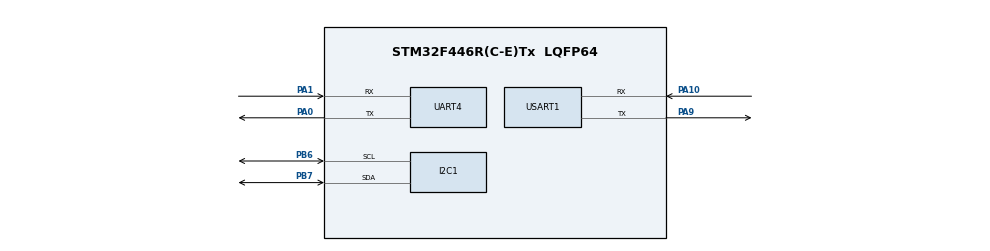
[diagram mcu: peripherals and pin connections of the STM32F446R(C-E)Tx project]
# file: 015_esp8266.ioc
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Dma.I2C1_RX.0.Direction=DMA_PERIPH_TO_MEMORY
Dma.I2C1_RX.0.FIFOMode=DMA_FIFOMODE_DISABLE
Dma.I2C1_RX.0.Instance=DMA1_Stream0
Dma.I2C1_RX.0.MemDataAlignment=DMA_MDATAALIGN_BYTE
Dma.I2C1_RX.0.MemInc=DMA_MINC_ENABLE
Dma.I2C1_RX.0.Mode=DMA_NORMAL
Dma.I2C1_RX.0.PeriphDataAlignment=DMA_PDATAALIGN_BYTE
Dma.I2C1_RX.0.PeriphInc=DMA_PINC_DISABLE
Dma.I2C1_RX.0.Priority=DMA_PRIORITY_LOW
Dma.I2C1_TX.1.Direction=DMA_MEMORY_TO_PERIPH
Dma.I2C1_TX.1.FIFOMode=DMA_FIFOMODE_DISABLE
Dma.I2C1_TX.1.Instance=DMA1_Stream6
Dma.I2C1_TX.1.MemDataAlignment=DMA_MDATAALIGN_BYTE
Dma.I2C1_TX.1.MemInc=DMA_MINC_ENABLE
Dma.I2C1_TX.1.Mode=DMA_NORMAL
Dma.I2C1_TX.1.PeriphDataAlignment=DMA_PDATAALIGN_BYTE
Dma.I2C1_TX.1.PeriphInc=DMA_PINC_DISABLE
Dma.I2C1_TX.1.Priority=DMA_PRIORITY_LOW
Dma.Request0=I2C1_RX
Dma.Request1=I2C1_TX
Dma.Request2=UART4_RX
Dma.Request3=UART4_TX
Dma.UART4_RX.2.Direction=DMA_PERIPH_TO_MEMORY
Dma.UART4_RX.2.FIFOMode=DMA_FIFOMODE_DISABLE
Dma.UART4_RX.2.Instance=DMA1_Stream2
Dma.UART4_RX.2.MemDataAlignment=DMA_MDATAALIGN_BYTE
Dma.UART4_RX.2.MemInc=DMA_MINC_ENABLE
Dma.UART4_RX.2.Mode=DMA_CIRCULAR
Dma.UART4_RX.2.PeriphDataAlignment=DMA_PDATAALIGN_BYTE
Dma.UART4_RX.2.PeriphInc=DMA_PINC_DISABLE
Dma.UART4_RX.2.Priority=DMA_PRIORITY_HIGH
Dma.UART4_TX.3.Direction=DMA_MEMORY_TO_PERIPH
Dma.UART4_TX.3.FIFOMode=DMA_FIFOMODE_DISABLE
Dma.UART4_TX.3.Instance=DMA1_Stream4
Dma.UART4_TX.3.MemDataAlignment=DMA_MDATAALIGN_BYTE
Dma.UART4_TX.3.MemInc=DMA_MINC_ENABLE
Dma.UART4_TX.3.Mode=DMA_NORMAL
Dma.UART4_TX.3.PeriphDataAlignment=DMA_PDATAALIGN_BYTE
Dma.UART4_TX.3.PeriphInc=DMA_PINC_DISABLE
Dma.UART4_TX.3.Priority=DMA_PRIORITY_HIGH
Mcu.Family=STM32F4
Mcu.Name=STM32F446R(C-E)Tx
Mcu.Package=LQFP64
NVIC.DMA1_Stream0_IRQn=true\:0\:0\:false\:false\:true\:false\:true\:true
NVIC.DMA1_Stream2_IRQn=true\:0\:0\:false\:false\:true\:false\:true\:true
NVIC.DMA1_Stream4_IRQn=true\:0\:0\:false\:false\:true\:false\:true\:true
NVIC.DMA1_Stream6_IRQn=true\:0\:0\:false\:false\:true\:false\:true\:true
NVIC.I2C1_ER_IRQn=true\:0\:0\:false\:false\:true\:true\:true\:true
NVIC.I2C1_EV_IRQn=true\:0\:0\:false\:false\:true\:true\:true\:true
NVIC.PriorityGroup=NVIC_PRIORITYGROUP_4
NVIC.UART4_IRQn=true\:0\:0\:false\:false\:true\:true\:true\:true
NVIC.USART1_IRQn=true\:0\:0\:false\:false\:true\:true\:true\:true
PA0-WKUP.Mode=Asynchronous
PA0-WKUP.Signal=UART4_TX
PA1.Mode=Asynchronous
PA1.Signal=UART4_RX
PA10.Mode=Asynchronous
PA10.Signal=USART1_RX
PA9.Mode=Asynchronous
PA9.Signal=USART1_TX
PB6.Mode=I2C
PB6.Signal=I2C1_SCL
PB7.Mode=I2C
PB7.Signal=I2C1_SDA
ProjectManager.HeapSize=0x200
ProjectManager.StackSize=0x400
ProjectManager.TargetToolchain=STM32CubeIDE
RCC.CortexFreq_Value=16000000
RCC.USBFreq_Value=96000000
RCC.VCOOutputFreq_Value=192000000
UART4.VirtualMode=Asynchronous
USART1.VirtualMode=VM_ASYNC
board=custom

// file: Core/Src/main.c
/* USER CODE BEGIN Header */
/**
 ******************************************************************************
 * @file           : main.c
 * @brief          : Main program body
 ******************************************************************************
 * @attention
 *
 * Copyright (c) 2025 STMicroelectronics.
 * All rights reserved.
 *
 * This software is licensed under terms that can be found in the LICENSE file
 * in the root directory of this software component.
 * If no LICENSE file comes with this software, it is provided AS-IS.
 *
 ******************************************************************************
 */
/* USER CODE END Header */
#include "main.h"

/* USER CODE BEGIN Includes */
#include "ringbuffer.h"
#include "esp8266_stm32.h"
/* USER CODE END Includes */

/* USER CODE BEGIN PM */
char readBuf[1];
uint8_t txData;
__IO ITStatus UartReady = SET;
__IO ITStatus UartTxComplete = SET;
RingBuffer txBuf, rxBuf;
/* USER CODE END PM */

I2C_HandleTypeDef hi2c1;
DMA_HandleTypeDef hdma_i2c1_rx;
DMA_HandleTypeDef hdma_i2c1_tx;

UART_HandleTypeDef huart4;
UART_HandleTypeDef huart1;
DMA_HandleTypeDef hdma_uart4_rx;
DMA_HandleTypeDef hdma_uart4_tx;

void SystemClock_Config(void);
static void MX_GPIO_Init(void);
static void MX_DMA_Init(void);
static void MX_I2C1_Init(void);
static void MX_UART4_Init(void);
static void MX_USART1_UART_Init(void);
/* USER CODE BEGIN PFP */
int _write(int file, char *ptr, int len)
{
  if (UART_Transmit(&huart1, (uint8_t *)ptr, len))
  {
    // Wait for transmission to complete to ensure log integrity
    while (UartTxComplete == RESET || RingBuffer_GetDataLength(&txBuf) > 0)
    {
      // Allow other interrupts to process
      __NOP();
    }
    return len;
  }
  return 0; // Return 0 on failure
}

char ip_buf[16];

/* USER CODE END PFP */

int main(void)
{

  /* MCU Configuration--------------------------------------------------------*/

  /* Reset of all peripherals, Initializes the Flash interface and the Systick. */
  HAL_Init();

  /* Configure the system clock */
  SystemClock_Config();

  /* Initialize all configured peripherals */
  MX_GPIO_Init();
  MX_DMA_Init();
  MX_I2C1_Init();
  MX_UART4_Init();
  MX_USART1_UART_Init();
  /* USER CODE BEGIN 2 */
  // Initialize ring buffers for UART interrupt-based transmission
  RingBuffer_Init(&txBuf);
  RingBuffer_Init(&rxBuf);

  HAL_NVIC_SetPriority(USART1_IRQn, 0, 0);
  HAL_NVIC_EnableIRQ(USART1_IRQn);

  if (ESP_Init() != ESP8266_OK)
  {
    USER_LOG("Failed to initialize... Check Debug logs");
    Error_Handler();
  }

  if (ESP_ConnectWiFi("Arun_Rawat", "arun@321", ip_buf, sizeof(ip_buf)) != ESP8266_OK)
  {
    USER_LOG("Failed to connect to wifi... Check Debug logs");
    Error_Handler();
  }

  // Initialize and connect to MQTT broker
  USER_LOG("Setting up MQTT...");
  if (ESP_MQTT_Init("test.mosquitto.org", 1883, "STM32_Device_001") != ESP8266_OK)
  {
    USER_LOG("MQTT initialization failed");
    Error_Handler();
  }

  // Set MQTT authentication
  // ESP_MQTT_SetAuth("your_username", "your_password");

  if (ESP_MQTT_Connect() != ESP8266_OK)
  {
    USER_LOG("MQTT connection failed");
    Error_Handler();
  }

  // Subscribe to control topics
  ESP_MQTT_Subscribe("stm32/led/control", MQTT_QOS_0);
  ESP_MQTT_Subscribe("stm32/system/command", MQTT_QOS_0);
  ESP_MQTT_Subscribe("stm32/sensor/request", MQTT_QOS_1);

  USER_LOG("MQTT setup complete. Device ready for IoT communication!");

  /* USER CODE END 2 */

  /* Infinite loop */
  /* USER CODE BEGIN WHILE */
  uint32_t last_publish = 0;
  uint32_t publish_interval = 10000; // Publish every 10 seconds
  MQTT_Message received_msg;

  while (1)
  {
    /* USER CODE END WHILE */

    /* USER CODE BEGIN 3 */

    // Check for incoming MQTT messages
    if (ESP_MQTT_CheckMessages(&received_msg) == ESP8266_OK)
    {
      // Handle received MQTT messages
      if (strcmp(received_msg.topic, "stm32/led/control") == 0)
      {
        if (strcmp(received_msg.message, "ON") == 0)
        {
          USER_LOG("LED Control: Turning LED ON");
          // Add your LED control code here
          ESP_MQTT_Publish("stm32/led/status", "LED_ON", MQTT_QOS_0, 0);
        }
        else if (strcmp(received_msg.message, "OFF") == 0)
        {
          USER_LOG("LED Control: Turning LED OFF");
          // Add your LED control code here
          ESP_MQTT_Publish("stm32/led/status", "LED_OFF", MQTT_QOS_0, 0);
        }
      }
      else if (strcmp(received_msg.topic, "stm32/system/command") == 0)
      {
        if (strcmp(received_msg.message, "STATUS") == 0)
        {
          char status_msg[128];
          snprintf(status_msg, sizeof(status_msg),
                   "ONLINE,IP:%s,UPTIME:%lu", ip_buf, HAL_GetTick());
          ESP_MQTT_Publish("stm32/system/status", status_msg, MQTT_QOS_0, 0);
        }
        else if (strcmp(received_msg.message, "RESTART") == 0)
        {
          ESP_MQTT_Publish("stm32/system/status", "RESTARTING", MQTT_QOS_0, 0);
          HAL_Delay(1000);
          NVIC_SystemReset();
        }
      }
      else if (strcmp(received_msg.topic, "stm32/sensor/request") == 0)
      {
        // Simulate sensor data
        char sensor_data[128];
        uint32_t temp = 25 + (HAL_GetTick() % 10);     // Simulated temperature
        uint32_t humidity = 60 + (HAL_GetTick() % 20); // Simulated humidity

        snprintf(sensor_data, sizeof(sensor_data),
                 "{\"temperature\":%lu,\"humidity\":%lu,\"timestamp\":%lu}",
                 temp, humidity, HAL_GetTick());
        ESP_MQTT_Publish("stm32/sensor/data", sensor_data, MQTT_QOS_1, 0);
      }
    }

    // Periodic status publishing
    if ((HAL_GetTick() - last_publish) >= publish_interval)
    {
      char heartbeat[64];
      snprintf(heartbeat, sizeof(heartbeat), "ALIVE_%lu", HAL_GetTick());
      ESP_MQTT_Publish("stm32/heartbeat", heartbeat, MQTT_QOS_0, 0);

      last_publish = HAL_GetTick();
    }

    // Small delay to prevent busy waiting
    HAL_Delay(100);
  }
  /* USER CODE END 3 */
}

void SystemClock_Config(void)
{
  RCC_OscInitTypeDef RCC_OscInitStruct = {0};
  RCC_ClkInitTypeDef RCC_ClkInitStruct = {0};

  /** Configure the main internal regulator output voltage
   */
  __HAL_RCC_PWR_CLK_ENABLE();
  __HAL_PWR_VOLTAGESCALING_CONFIG(PWR_REGULATOR_VOLTAGE_SCALE3);

  /** Initializes the RCC Oscillators according to the specified parameters
   * in the RCC_OscInitTypeDef structure.
   */
  RCC_OscInitStruct.OscillatorType = RCC_OSCILLATORTYPE_HSI;
  RCC_OscInitStruct.HSIState = RCC_HSI_ON;
  RCC_OscInitStruct.HSICalibrationValue = RCC_HSICALIBRATION_DEFAULT;
  RCC_OscInitStruct.PLL.PLLState = RCC_PLL_NONE;
  if (HAL_RCC_OscConfig(&RCC_OscInitStruct) != HAL_OK)
  {
    Error_Handler();
  }

  /** Initializes the CPU, AHB and APB buses clocks
   */
  RCC_ClkInitStruct.ClockType = RCC_CLOCKTYPE_HCLK | RCC_CLOCKTYPE_SYSCLK | RCC_CLOCKTYPE_PCLK1 | RCC_CLOCKTYPE_PCLK2;
  RCC_ClkInitStruct.SYSCLKSource = RCC_SYSCLKSOURCE_HSI;
  RCC_ClkInitStruct.AHBCLKDivider = RCC_SYSCLK_DIV1;
  RCC_ClkInitStruct.APB1CLKDivider = RCC_HCLK_DIV1;
  RCC_ClkInitStruct.APB2CLKDivider = RCC_HCLK_DIV1;

  if (HAL_RCC_ClockConfig(&RCC_ClkInitStruct, FLASH_LATENCY_0) != HAL_OK)
  {
    Error_Handler();
  }
}

static void MX_I2C1_Init(void)
{

  hi2c1.Instance = I2C1;
  hi2c1.Init.ClockSpeed = 100000;
  hi2c1.Init.DutyCycle = I2C_DUTYCYCLE_2;
  hi2c1.Init.OwnAddress1 = 0;
  hi2c1.Init.AddressingMode = I2C_ADDRESSINGMODE_7BIT;
  hi2c1.Init.DualAddressMode = I2C_DUALADDRESS_DISABLE;
  hi2c1.Init.OwnAddress2 = 0;
  hi2c1.Init.GeneralCallMode = I2C_GENERALCALL_DISABLE;
  hi2c1.Init.NoStretchMode = I2C_NOSTRETCH_DISABLE;
  if (HAL_I2C_Init(&hi2c1) != HAL_OK)
  {
    Error_Handler();
  }
}

static void MX_UART4_Init(void)
{

  huart4.Instance = UART4;
  huart4.Init.BaudRate = 115200;
  huart4.Init.WordLength = UART_WORDLENGTH_8B;
  huart4.Init.StopBits = UART_STOPBITS_1;
  huart4.Init.Parity = UART_PARITY_NONE;
  huart4.Init.Mode = UART_MODE_TX_RX;
  huart4.Init.HwFlowCtl = UART_HWCONTROL_NONE;
  huart4.Init.OverSampling = UART_OVERSAMPLING_16;
  if (HAL_UART_Init(&huart4) != HAL_OK)
  {
    Error_Handler();
  }
}

static void MX_USART1_UART_Init(void)
{

  huart1.Instance = USART1;
  huart1.Init.BaudRate = 115200;
  huart1.Init.WordLength = UART_WORDLENGTH_8B;
  huart1.Init.StopBits = UART_STOPBITS_1;
  huart1.Init.Parity = UART_PARITY_NONE;
  huart1.Init.Mode = UART_MODE_TX_RX;
  huart1.Init.HwFlowCtl = UART_HWCONTROL_NONE;
  huart1.Init.OverSampling = UART_OVERSAMPLING_16;
  if (HAL_UART_Init(&huart1) != HAL_OK)
  {
    Error_Handler();
  }
}

static void MX_DMA_Init(void)
{

  /* DMA controller clock enable */
  __HAL_RCC_DMA1_CLK_ENABLE();

  /* DMA interrupt init */
  /* DMA1_Stream0_IRQn interrupt configuration */
  HAL_NVIC_SetPriority(DMA1_Stream0_IRQn, 0, 0);
  HAL_NVIC_EnableIRQ(DMA1_Stream0_IRQn);
  /* DMA1_Stream2_IRQn interrupt configuration */
  HAL_NVIC_SetPriority(DMA1_Stream2_IRQn, 0, 0);
  HAL_NVIC_EnableIRQ(DMA1_Stream2_IRQn);
  /* DMA1_Stream4_IRQn interrupt configuration */
  HAL_NVIC_SetPriority(DMA1_Stream4_IRQn, 0, 0);
  HAL_NVIC_EnableIRQ(DMA1_Stream4_IRQn);
  /* DMA1_Stream6_IRQn interrupt configuration */
  HAL_NVIC_SetPriority(DMA1_Stream6_IRQn, 0, 0);
  HAL_NVIC_EnableIRQ(DMA1_Stream6_IRQn);
}

static void MX_GPIO_Init(void)
{

  /* GPIO Ports Clock Enable */
  __HAL_RCC_GPIOA_CLK_ENABLE();
  __HAL_RCC_GPIOB_CLK_ENABLE();

}

/* USER CODE BEGIN 4 */
uint8_t UART_Transmit(UART_HandleTypeDef *huart, uint8_t *pData, uint16_t len)
{
  UartTxComplete = RESET; // Mark transmission as in progress
  if (HAL_UART_Transmit_IT(huart, pData, len) != HAL_OK)
  {
    if (RingBuffer_Write(&txBuf, pData, len) != RING_BUFFER_OK)
      return 0;
  }
  return 1;
}

void HAL_UART_RxCpltCallback(UART_HandleTypeDef *UartHandle)
{
  /* Set transmission flag: transfer complete*/
  UartReady = SET;
}

void HAL_UART_TxCpltCallback(UART_HandleTypeDef *huart)
{
  if (huart == &huart1)
  {
    if (RingBuffer_GetDataLength(&txBuf) > 0)
    {
      RingBuffer_Read(&txBuf, &txData, 1);
      HAL_UART_Transmit_IT(huart, &txData, 1);
    }
    else
    {
      UartTxComplete = SET; // Mark transmission as complete when buffer is empty
    }
  }
}

void HAL_UART_RxHalfCpltCallback(UART_HandleTypeDef *huart)
{
  if (huart == &huart4)
  {
    // UART4 DMA RX half complete - update tail pointer for circular buffer
    // This helps in handling continuous reception
  }
}

void HAL_UART_ErrorCallback(UART_HandleTypeDef *huart)
{
  if (huart == &huart4)
  {
    // Handle UART4 errors - restart DMA reception if needed
    HAL_UART_DMAStop(&huart4);
    ESP_DMA_StartReceive();
  }
}
/* USER CODE END 4 */

void Error_Handler(void)
{
  __disable_irq();
  while (1)
  {
  }
}
